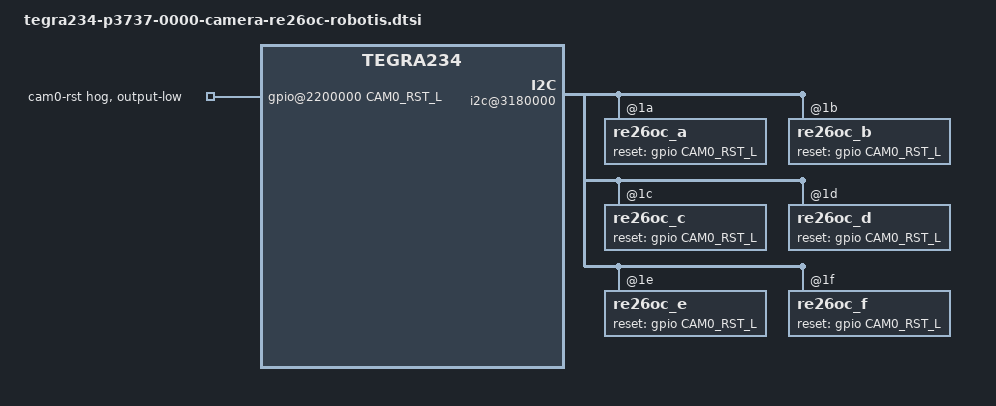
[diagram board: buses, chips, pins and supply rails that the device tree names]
// SPDX-License-Identifier: GPL-2.0-only
// SPDX-FileCopyrightText: Copyright (c) 2017-2023, NVIDIA CORPORATION & AFFILIATES. All rights reserved.

#include "tegra234-camera-re26oc-robotis.dtsi"
#include <dt-bindings/clock/tegra234-clock.h>
#include <dt-bindings/gpio/tegra234-gpio.h>

#define CAM0_RST_L	TEGRA234_MAIN_GPIO(H, 3)

/* camera control gpio definitions */

/ {
	fragment-camera-re26oc@0 {
		target-path = "/bus@0";
		__overlay__ {
			gpio@2200000 {
				camera-control-output-low {
					gpio-hog;
					output-low;
					gpios = <CAM0_RST_L 0>;
					label = "cam0-rst";
				};
			};

			i2c@3180000 {
				re26oc_a@1a {
					/* Define any required hw resources needed by driver */
					/* ie. clocks, io pins, power sources */
					clocks = <&bpmp TEGRA234_CLK_EXTPERIPH1>,
						<&bpmp TEGRA234_CLK_EXTPERIPH1>;
					clock-names = "extperiph1", "pllp_grtba";
					mclk = "extperiph1";
					reset-gpios = <&gpio CAM0_RST_L GPIO_ACTIVE_HIGH>;
				};

				re26oc_b@1b {
					/* Define any required hw resources needed by driver */
					/* ie. clocks, io pins, power sources */
					clocks = <&bpmp TEGRA234_CLK_EXTPERIPH1>,
						<&bpmp TEGRA234_CLK_EXTPERIPH1>;
					clock-names = "extperiph1", "pllp_grtba";
					mclk = "extperiph1";
					reset-gpios = <&gpio CAM0_RST_L GPIO_ACTIVE_HIGH>;
				};

				re26oc_c@1c {
					/* Define any required hw resources needed by driver */
					/* ie. clocks, io pins, power sources */
					clocks = <&bpmp TEGRA234_CLK_EXTPERIPH1>,
						<&bpmp TEGRA234_CLK_EXTPERIPH1>;
					clock-names = "extperiph1", "pllp_grtba";
					mclk = "extperiph1";
					reset-gpios = <&gpio CAM0_RST_L GPIO_ACTIVE_HIGH>;
				};

				re26oc_d@1d {
					/* Define any required hw resources needed by driver */
					/* ie. clocks, io pins, power sources */
					clocks = <&bpmp TEGRA234_CLK_EXTPERIPH1>,
						<&bpmp TEGRA234_CLK_EXTPERIPH1>;
					clock-names = "extperiph1", "pllp_grtba";
					mclk = "extperiph1";
					reset-gpios = <&gpio CAM0_RST_L GPIO_ACTIVE_HIGH>;
				};

				re26oc_e@1e {
					/* Define any required hw resources needed by driver */
					/* ie. clocks, io pins, power sources */
					clocks = <&bpmp TEGRA234_CLK_EXTPERIPH1>,
						<&bpmp TEGRA234_CLK_EXTPERIPH1>;
					clock-names = "extperiph1", "pllp_grtba";
					mclk = "extperiph1";
					reset-gpios = <&gpio CAM0_RST_L GPIO_ACTIVE_HIGH>;
				};

				re26oc_f@1f {
					/* Define any required hw resources needed by driver */
					/* ie. clocks, io pins, power sources */
					clocks = <&bpmp TEGRA234_CLK_EXTPERIPH1>,
						<&bpmp TEGRA234_CLK_EXTPERIPH1>;
					clock-names = "extperiph1", "pllp_grtba";
					mclk = "extperiph1";
					reset-gpios = <&gpio CAM0_RST_L GPIO_ACTIVE_HIGH>;
				};
			};
		};
	};
};
